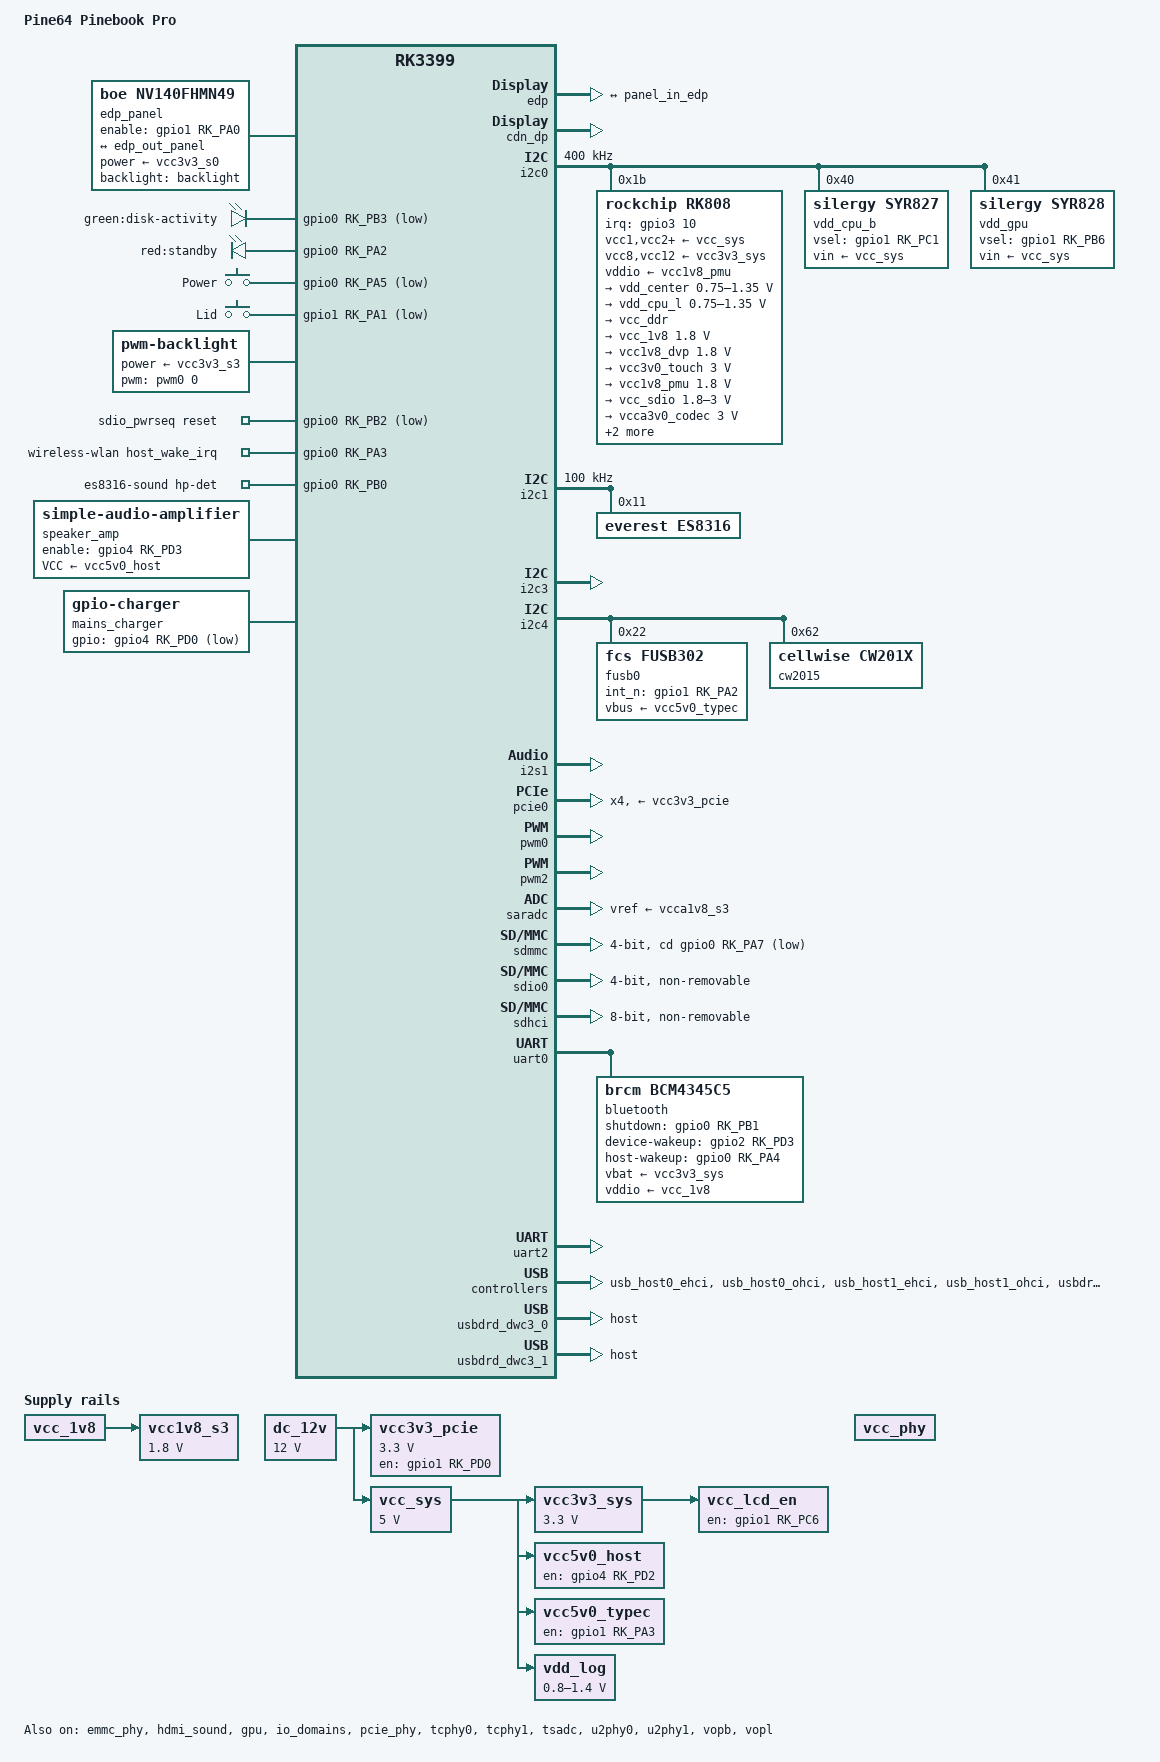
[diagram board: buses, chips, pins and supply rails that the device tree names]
// SPDX-License-Identifier: (GPL-2.0+ OR MIT)
/*
 * Copyright (c) 2017 Fuzhou Rockchip Electronics Co., Ltd.
 * Copyright (c) 2018 Akash Gajjar <Akash_Gajjar@mentor.com>
 */

/dts-v1/;
#include <dt-bindings/input/linux-event-codes.h>
#include <dt-bindings/pwm/pwm.h>
#include <dt-bindings/usb/pd.h>
//#include <dt-bindings/leds/common.h>
#include <dt-bindings/pinctrl/rockchip.h>
#include "rk3399.dtsi"
#include "rk3399-opp.dtsi"
#include "rk3399-crypto.dtsi"

/ {
	model = "Pine64 Pinebook Pro";
	compatible = "pine64,pinebook-pro", "rockchip,rk3399";

	edp_panel: edp-panel { /* "boe,nv140fhmn49" */
		compatible = "boe,nv140fhmn49", "simple-panel";
		backlight = <&backlight>;
		power-supply = <&vcc3v3_s0>;
//		pinctrl-names = "default";
//		pinctrl-0 = <&panel_en>;
		enable-gpios = <&gpio1 RK_PA0 GPIO_ACTIVE_HIGH>;
		prepare-delay-ms = <20>;
		enable-delay-ms = <20>;
		status = "okay";

		ports {
	                #address-cells = <0x01>;
                        #size-cells = <0x00>;
			port@0 {
				panel_in_edp: endpoint@0 {
					remote-endpoint = <&edp_out_panel>;
				};
			};
		};
	};

	chosen {
		bootargs = "earlycon=uart8250,mmio32,0xff1a0000";
		stdout-path = "serial2:1500000n8";
	};

	leds {
		compatible = "gpio-leds";
		pinctrl-names = "default";
		pinctrl-0 = <&pwrled &slpled>;

		/* Hack using active_low as inversion. A real, inverted trigger would be nicer */
		green-led {
			gpios = <&gpio0 RK_PB3 GPIO_ACTIVE_LOW>;
			label = "green:disk-activity";
//			function = LED_FUNCTION_POWER;
			linux,default-trigger = "disk-activity";
			default-state = "off";
//			color = <LED_COLOR_ID_GREEN>;
		};

		red-led {
			gpios = <&gpio0 RK_PA2 GPIO_ACTIVE_HIGH>;
			label = "red:standby";
//			function = LED_FUNCTION_STANDBY;
			default-state = "off";
			panic-indicator;
			retain-state-suspended;
//			color = <LED_COLOR_ID_RED>;
		};
	};

	reserved-memory {
		#address-cells = <2>;
		#size-cells = <2>;
		ranges;

		drm_logo: drm-logo@00000000 {
			compatible = "rockchip,drm-logo";
			reg = <0x0 0x0 0x0 0x0>;
		};
	};

	dc_12v: dc-12v {
		compatible = "regulator-fixed";
		regulator-name = "dc_12v";
		regulator-always-on;
		regulator-boot-on;
		regulator-min-microvolt = <12000000>;
		regulator-max-microvolt = <12000000>;
	};

	gpio-keys {
		compatible = "gpio-keys";
		autorepeat;
		pinctrl-names = "default";
		pinctrl-0 = <&pwrbtn &lidbtn>;

		power {
			debounce-interval = <20>;
			gpios = <&gpio0 RK_PA5 GPIO_ACTIVE_LOW>;
			label = "Power";
			linux,code = <KEY_POWER>;
			wakeup-source;
		};

		lid {
			debounce-interval = <20>;
			gpios = <&gpio1 RK_PA1 GPIO_ACTIVE_LOW>;
			label = "Lid";
			linux,code = <SW_LID>;
			linux,input-type = <EV_SW>;
			wakeup-source;
		};
	};
	
	backlight: edp-backlight {
		compatible = "pwm-backlight";
		pwms = <&pwm0 0 740740 0>;
		power-supply = <&vcc3v3_s3>;
		brightness-levels = <
			  0   1   2   3   4   5   6   7
			  8   9  10  11  12  13  14  15
			 16  17  18  19  20  21  22  23
			 24  25  26  27  28  29  30  31
			 32  33  34  35  36  37  38  39
			 40  41  42  43  44  45  46  47
			 48  49  50  51  52  53  54  55
			 56  57  58  59  60  61  62  63
			 64  65  66  67  68  69  70  71
			 72  73  74  75  76  77  78  79
			 80  81  82  83  84  85  86  87
			 88  89  90  91  92  93  94  95
			 96  97  98  99 100 101 102 103
			104 105 106 107 108 109 110 111
			112 113 114 115 116 117 118 119
			120 121 122 123 124 125 126 127
			128 129 130 131 132 133 134 135
			136 137 138 139 140 141 142 143
			144 145 146 147 148 149 150 151
			152 153 154 155 156 157 158 159
			160 161 162 163 164 165 166 167
			168 169 170 171 172 173 174 175
			176 177 178 179 180 181 182 183
			184 185 186 187 188 189 190 191
			192 193 194 195 196 197 198 199
			200 201 202 203 204 205 206 207
			208 209 210 211 212 213 214 215
			216 217 218 219 220 221 222 223
			224 225 226 227 228 229 230 231
			232 233 234 235 236 237 238 239
			240 241 242 243 244 245 246 247
			248 249 250 251 252 253 254 255>;
		default-brightness-level = <200>;
		status = "okay";
	};

	panel {
		vcc_lcd_en_drv: vcc-lcd-en-drv {
			rockchip,pins = <1 RK_PC6 RK_FUNC_GPIO &pcfg_pull_none>;
		};

		panel_en: panel-en {
			rockchip,pins = <1 RK_PA0 RK_FUNC_GPIO &pcfg_pull_none>;
		};
	};

	vcc_lcd_en: vcc-lcd-en-regulator {
		compatible = "regulator-fixed";
		enable-active-high;
		gpio = <&gpio1 RK_PC6 GPIO_ACTIVE_HIGH>;
//		pinctrl-names = "default";
//		pinctrl-0 = <&vcc_lcd_en_drv>;
		regulator-name = "vcc_lcd_en";
		regulator-enable-ramp-delay = <100000>;
		vin-supply = <&vcc3v3_sys>;
		regulator-always-on;

		regulator-state-mem {
			regulator-off-in-suspend;
		};
	};

	sdio_pwrseq: sdio-pwrseq {
		compatible = "mmc-pwrseq-simple";
		clocks = <&rk808 1>;
		clock-names = "ext_clock";
		pinctrl-names = "default";
		pinctrl-0 = <&wifi_enable_h>;
		power-off-delay-us = <500000>;
		post-power-on-delay-ms = <100>;

		/*
		 * On the module itself this is one of these (depending
		 * on the actual card populated):
		 * - SDIO_RESET_L_WL_REG_ON
		 * - PDN (power down when low)
		 */
		reset-gpios = <&gpio0 RK_PB2 GPIO_ACTIVE_LOW>;
	};

	wireless-wlan {
		compatible = "wlan-platdata";
		rockchip,grf = <&grf>;
		wifi_chip_type = "ap6354";
		sdio_vref = <1800>;
		WIFI,host_wake_irq = <&gpio0 RK_PA3 GPIO_ACTIVE_HIGH>;
		status = "okay";
	};

	es8316-sound {
		status = "okay";
		compatible = "simple-audio-card";
		simple-audio-card,name = "rockchip,es8316-codec";
		simple-audio-card,format = "i2s";
		simple-audio-card,mclk-fs = <256>;

		simple-audio-card,widgets =
			"Microphone", "Mic Jack",
			"Headphone", "Headphones",
			"Speaker", "Speaker";
		simple-audio-card,routing =
			"MIC1", "Mic Jack",
			"Headphones", "HPOL",
			"Headphones", "HPOR",
			"Speaker Amplifier INL", "HPOL",
			"Speaker Amplifier INR", "HPOR",
			"Speaker", "Speaker Amplifier OUTL",
			"Speaker", "Speaker Amplifier OUTR";

		simple-audio-card,hp-det-gpio = <&gpio0 RK_PB0 GPIO_ACTIVE_HIGH>;
		simple-audio-card,aux-devs = <&speaker_amp>;

		simple-audio-card,cpu {
			sound-dai = <&i2s1>;
		};

		simple-audio-card,codec {
			sound-dai = <&es8316>;
		};
	};

	speaker_amp: speaker-amplifier {
		status = "okay";
		compatible = "simple-audio-amplifier";
		enable-gpios = <&gpio4 RK_PD3 GPIO_ACTIVE_HIGH>;
		VCC-supply = <&vcc5v0_host>;
		sound-name-prefix = "Speaker Amplifier";
	};

	/* switched by pmic_sleep */
	vcc1v8_s3: vcca1v8_s3: vcc1v8-s3 {
		compatible = "regulator-fixed";
		regulator-name = "vcc1v8_s3";
		regulator-always-on;
		regulator-boot-on;
		regulator-min-microvolt = <1800000>;
		regulator-max-microvolt = <1800000>;
		vin-supply = <&vcc_1v8>;
	};

	vcc3v3_pcie: vcc3v3-pcie-regulator {
		compatible = "regulator-fixed";
		enable-active-high;
		gpio = <&gpio1 RK_PD0 GPIO_ACTIVE_HIGH>;
		pinctrl-names = "default";
		pinctrl-0 = <&pcie_pwr_en>;
		regulator-name = "vcc3v3_pcie";
		regulator-min-microvolt = <3300000>;
		regulator-max-microvolt = <3300000>;
		vin-supply = <&dc_12v>;
	};

	vcc_phy: vcc-phy-regulator {
		compatible = "regulator-fixed";
		regulator-name = "vcc_phy";
		regulator-always-on;
		regulator-boot-on;
	};

	vcc3v3_sys: vcc3v3-sys {
		compatible = "regulator-fixed";
		regulator-name = "vcc3v3_sys";
		regulator-always-on;
		regulator-boot-on;
		regulator-min-microvolt = <3300000>;
		regulator-max-microvolt = <3300000>;
		vin-supply = <&vcc_sys>;
	};

	/* Actually 3 regulators (host0, 1, 2) controlled by the same gpio */
	vcc5v0_host: vcc5v0-host-regulator {
		compatible = "regulator-fixed";
		enable-active-high;
		gpio = <&gpio4 RK_PD2 GPIO_ACTIVE_HIGH>;
		pinctrl-names = "default";
		pinctrl-0 = <&vcc5v0_host_en>;
		regulator-name = "vcc5v0_host";
		regulator-always-on;
		vin-supply = <&vcc_sys>;
	};

	vcc5v0_typec: vcc5v0-typec-regulator {
		compatible = "regulator-fixed";
		enable-active-high;
		gpio = <&gpio1 RK_PA3 GPIO_ACTIVE_HIGH>;
		pinctrl-names = "default";
		pinctrl-0 = <&vcc5v0_typec_en>;
		regulator-name = "vcc5v0_typec";
		vin-supply = <&vcc_sys>;
	};

	vcc_sys: vcc-sys {
		compatible = "regulator-fixed";
		regulator-name = "vcc_sys";
		regulator-always-on;
		regulator-boot-on;
		regulator-min-microvolt = <5000000>;
		regulator-max-microvolt = <5000000>;
		vin-supply = <&dc_12v>;
	};

	vdd_log: vdd-log {
		compatible = "pwm-regulator";
		pwms = <&pwm2 0 25000 1>;
		pwm-supply = <&vcc_sys>;
		regulator-name = "vdd_log";
		regulator-always-on;
		regulator-boot-on;
		regulator-min-microvolt = <800000>;
		regulator-max-microvolt = <1400000>;
	};

	mains_charger: dc-charger {
		compatible = "gpio-charger";
		charger-type = "mains";
		gpios = <&gpio4 RK_PD0 GPIO_ACTIVE_LOW>;
//		pinctrl-names = "default";
//		pinctrl-0 = <&dc_det_gpio>;
	};

	usb_charger: usb-charger {
		status = "okay";
		compatible = "universal-charger";
		extcon = <&fusb0>;
	};
};

&edp {
	status = "okay";
	pinctrl-names = "default";
	pinctrl-0 = <&edp_hpd>;
	force-hpd;

	ports {
		edp_out: port@1 {
			reg = <1>;
			#address-cells = <1>;
			#size-cells = <0>;

			edp_out_panel: endpoint@0 {
				reg = <0>;
				remote-endpoint = <&panel_in_edp>;
			};
		};
	};
};

&cdn_dp {
	status = "okay";
	extcon = <&fusb0>;
};

&cpu_l0 {
	cpu-supply = <&vdd_cpu_l>;
};

&cpu_l1 {
	cpu-supply = <&vdd_cpu_l>;
};

&cpu_l2 {
	cpu-supply = <&vdd_cpu_l>;
};

&cpu_l3 {
	cpu-supply = <&vdd_cpu_l>;
};

&cpu_b0 {
	cpu-supply = <&vdd_cpu_b>;
};

&cpu_b1 {
	cpu-supply = <&vdd_cpu_b>;
};

&cpu_alert0 {
	temperature = <80000>;
};

&cpu_alert1 {
	temperature = <95000>;
};

&cpu_crit {
	temperature = <100000>;
};

&emmc_phy {
	status = "okay";
};

&hdmi_sound {
	status = "okay";
};

&hdmi {
	ddc-i2c-bus = <&i2c3>;
	pinctrl-names = "default";
	pinctrl-0 = <&hdmi_cec>;
	status = "disabled";
};

&gpu {
	mali-supply = <&vdd_gpu>;
	status = "okay";
};

&i2c0 {
	clock-frequency = <400000>;
	i2c-scl-rising-time-ns = <168>;
	i2c-scl-falling-time-ns = <4>;
	status = "okay";

	rk808: pmic@1b {
		compatible = "rockchip,rk808";
		reg = <0x1b>;
		interrupt-parent = <&gpio3>;
		interrupts = <10 IRQ_TYPE_LEVEL_LOW>;
		#clock-cells = <1>;
		clock-output-names = "xin32k", "rk808-clkout2";
		pinctrl-names = "default";
		pinctrl-0 = <&pmic_int_l>;
		rockchip,system-power-controller;
		wakeup-source;

		vcc1-supply = <&vcc_sys>;
		vcc2-supply = <&vcc_sys>;
		vcc3-supply = <&vcc_sys>;
		vcc4-supply = <&vcc_sys>;
		vcc6-supply = <&vcc_sys>;
		vcc7-supply = <&vcc_sys>;
		vcc8-supply = <&vcc3v3_sys>;
		vcc9-supply = <&vcc_sys>;
		vcc10-supply = <&vcc_sys>;
		vcc11-supply = <&vcc_sys>;
		vcc12-supply = <&vcc3v3_sys>;
		vddio-supply = <&vcc1v8_pmu>;

		regulators {
			vdd_center: DCDC_REG1 {
				regulator-name = "vdd_center";
				regulator-always-on;
				regulator-boot-on;
				regulator-min-microvolt = <750000>;
				regulator-max-microvolt = <1350000>;
				regulator-ramp-delay = <6001>;
				regulator-state-mem {
					regulator-off-in-suspend;
				};
			};

			vdd_cpu_l: DCDC_REG2 {
				regulator-name = "vdd_cpu_l";
				regulator-always-on;
				regulator-boot-on;
				regulator-min-microvolt = <750000>;
				regulator-max-microvolt = <1350000>;
				regulator-ramp-delay = <6001>;
				regulator-state-mem {
					regulator-off-in-suspend;
				};
			};

			vcc_ddr: DCDC_REG3 {
				regulator-name = "vcc_ddr";
				regulator-always-on;
				regulator-boot-on;
				regulator-state-mem {
					regulator-on-in-suspend;
				};
			};

			vcc_1v8: DCDC_REG4 {
				regulator-name = "vcc_1v8";
				regulator-always-on;
				regulator-boot-on;
				regulator-min-microvolt = <1800000>;
				regulator-max-microvolt = <1800000>;
				regulator-state-mem {
					regulator-on-in-suspend;
					regulator-suspend-microvolt = <1800000>;
				};
			};

			vcc1v8_dvp: LDO_REG1 {
				regulator-name = "vcc1v8_dvp";
				regulator-always-on;
				regulator-boot-on;
				regulator-min-microvolt = <1800000>;
				regulator-max-microvolt = <1800000>;
				regulator-state-mem {
					regulator-off-in-suspend;
				};
			};

			vcc3v0_touch: LDO_REG2 {
				regulator-name = "vcc3v0_touch";
				regulator-always-on;
				regulator-boot-on;
				regulator-min-microvolt = <3000000>;
				regulator-max-microvolt = <3000000>;
				regulator-state-mem {
					regulator-off-in-suspend;
				};
			};

			vcc1v8_pmu: LDO_REG3 {
				regulator-name = "vcc1v8_pmu";
				regulator-always-on;
				regulator-boot-on;
				regulator-min-microvolt = <1800000>;
				regulator-max-microvolt = <1800000>;
				regulator-state-mem {
					regulator-on-in-suspend;
					regulator-suspend-microvolt = <1800000>;
				};
			};

			vcc_sdio: LDO_REG4 {
				regulator-name = "vcc_sdio";
				regulator-always-on;
				regulator-boot-on;
				regulator-min-microvolt = <1800000>;
				regulator-max-microvolt = <3000000>;
				regulator-state-mem {
					regulator-on-in-suspend;
					regulator-suspend-microvolt = <3000000>;
				};
			};

			vcca3v0_codec: LDO_REG5 {
				regulator-name = "vcca3v0_codec";
				regulator-always-on;
				regulator-boot-on;
				regulator-min-microvolt = <3000000>;
				regulator-max-microvolt = <3000000>;
				regulator-state-mem {
					regulator-off-in-suspend;
				};
			};

			vcc_1v5: LDO_REG6 {
				regulator-name = "vcc_1v5";
				regulator-always-on;
				regulator-boot-on;
				regulator-min-microvolt = <1500000>;
				regulator-max-microvolt = <1500000>;
				regulator-state-mem {
					regulator-on-in-suspend;
					regulator-suspend-microvolt = <1500000>;
				};
			};

			vcca1v8_codec: LDO_REG7 {
				regulator-name = "vcca1v8_codec";
				regulator-always-on;
				regulator-boot-on;
				regulator-min-microvolt = <1800000>;
				regulator-max-microvolt = <1800000>;
				regulator-state-mem {
					regulator-off-in-suspend;
				};
			};

			vcc_3v0: LDO_REG8 {
				regulator-name = "vcc_3v0";
				regulator-always-on;
				regulator-boot-on;
				regulator-min-microvolt = <3000000>;
				regulator-max-microvolt = <3000000>;
				regulator-state-mem {
					regulator-on-in-suspend;
					regulator-suspend-microvolt = <3000000>;
				};
			};

			vcc3v3_s3: vcc_lan: SWITCH_REG1 {
				regulator-name = "vcc3v3_s3";
				regulator-always-on;
				regulator-boot-on;
				regulator-state-mem {
					regulator-off-in-suspend;
				};
			};

			vcc3v3_s0: SWITCH_REG2 {
				regulator-name = "vcc3v3_s0";
				regulator-always-on;
				regulator-boot-on;
				regulator-state-mem {
					regulator-off-in-suspend;
				};
			};
		};
	};

	vdd_cpu_b: regulator@40 {
		compatible = "silergy,syr827";
		reg = <0x40>;
		fcs,suspend-voltage-selector = <1>;
		pinctrl-names = "default";
		pinctrl-0 = <&vsel1_gpio>;
		vsel-gpios = <&gpio1 RK_PC1 GPIO_ACTIVE_HIGH>;
		regulator-compatible = "fan53555-reg";
		regulator-name = "vdd_cpu_b";
		regulator-min-microvolt = <712500>;
		regulator-max-microvolt = <1500000>;
		regulator-ramp-delay = <1000>;
		regulator-always-on;
		regulator-boot-on;
		vin-supply = <&vcc_sys>;

		regulator-state-mem {
			regulator-off-in-suspend;
		};
	};

	vdd_gpu: regulator@41 {
		compatible = "silergy,syr828";
		reg = <0x41>;
		fcs,suspend-voltage-selector = <1>;
		pinctrl-names = "default";
		pinctrl-0 = <&vsel2_gpio>;
		vsel-gpios = <&gpio1 RK_PB6 GPIO_ACTIVE_HIGH>;
		regulator-compatible = "fan53555-reg";
		regulator-name = "vdd_gpu";
		regulator-min-microvolt = <712500>;
		regulator-max-microvolt = <1500000>;
		regulator-ramp-delay = <1000>;
		regulator-always-on;
		regulator-boot-on;
		vin-supply = <&vcc_sys>;

		regulator-state-mem {
			regulator-off-in-suspend;
		};
	};
};

&i2c1 {
	i2c-scl-rising-time-ns = <168>;
	i2c-scl-falling-time-ns = <4>;
	status = "okay";

	clock-frequency = <100000>;

	es8316: es8316@11 {
		#sound-dai-cells = <0>;
		compatible = "everest,es8316";
		reg = <0x11>;
		clocks = <&cru SCLK_I2S_8CH_OUT>;
		clock-names = "mclk";
	};
};

&i2c3 {
	i2c-scl-rising-time-ns = <450>;
	i2c-scl-falling-time-ns = <15>;
	status = "okay";
};



&i2c4 {
	i2c-scl-rising-time-ns = <600>;
	i2c-scl-falling-time-ns = <20>;
	status = "okay";

	fusb0: fusb30x@22 {
		compatible = "fcs,fusb302";
		reg = <0x22>;
		pinctrl-names = "default";
		pinctrl-0 = <&fusb0_int>;
		fcs,int_n = <&gpio1 RK_PA2 GPIO_ACTIVE_HIGH>;
		vbus-supply = <&vcc5v0_typec>;
		status = "okay";
		connector {
			compatible = "usb-c-connector";
			label = "USB-C";
			power-role = "dual";
			try-power-role = "sink";
			source-pdos = <PDO_FIXED(5000, 1400, PDO_FIXED_USB_COMM)>;
			sink-pdos = <PDO_FIXED(5000, 2500, PDO_FIXED_USB_COMM)>;
			op-sink-microwatt = <1000000>;
			extcon-cables = <1 2 5 6 9 10 12 44>;
			typec-altmodes = <0xff01 1 0x001c0000 1>;
		};
	};

	cw2015@62 {
		status = "okay";
		compatible = "cellwise,cw201x";
		reg = <0x62>;
		cellwise,bat-config-info = <
			0x17 0x67 0x80 0x73 0x6E 0x6C 0x6B 0x63
			0x77 0x51 0x5C 0x58 0x50 0x4C 0x48 0x36
			0x15 0x0C 0x0C 0x19 0x5B 0x7D 0x6F 0x69
			0x69 0x5B 0x0C 0x29 0x20 0x40 0x52 0x59
			0x57 0x56 0x54 0x4F 0x3B 0x1F 0x7F 0x17
			0x06 0x1A 0x30 0x5A 0x85 0x93 0x96 0x2D
			0x48 0x77 0x9C 0xB3 0x80 0x52 0x94 0xCB
			0x2F 0x00 0x64 0xA5 0xB5 0x11 0xF0 0x11
		>;
		cellwise,monitor-interval = <5>;
		cellwise,virtual-power = <0>;
		cellwise,design-capacity = <9800>;
		power-supplies = <&mains_charger>, <&fusb0>;
	};
};

&i2s0 {
	status = "disabled";
};

&i2s1 {
	rockchip,i2s-broken-burst-len;
	rockchip,playback-channels = <8>;
	rockchip,capture-channels = <8>;
	#sound-dai-cells = <0>;
	pinctrl-names = "default";
	pinctrl-0 = <&i2s_8ch_mclk>, <&i2s1_2ch_bus>;
	status = "okay";
};

&i2s2 {
	#sound-dai-cells = <0>;
	status = "disabled";
};

&io_domains {
	status = "okay";

	bt656-supply = <&vcc1v8_dvp>;
	audio-supply = <&vcca1v8_codec>;
	sdmmc-supply = <&vcc_sdio>;
	gpio1830-supply = <&vcc_3v0>;
};

&pcie_phy {
	status = "okay";
};

&pcie0 {
	ep-gpios = <&gpio2 RK_PD4 GPIO_ACTIVE_HIGH>;
	num-lanes = <4>;
	pinctrl-names = "default";
	pinctrl-0 = <&pcie_clkreqn_cpm>;
	vpcie3v3-supply = <&vcc3v3_pcie>;
	bus-scan-delay-ms = <1000>;
	status = "okay";
};

&pmu_io_domains {
	pmu1830-supply = <&vcc_3v0>;
	status = "okay";
};

&cluster1_opp {
	opp08 {
		opp-hz = /bits/ 64 <2000000000>;
		opp-microvolt = <1300000>;
	};
};

&pinctrl {
	buttons {
		pwrbtn: pwrbtn {
			rockchip,pins = <0 RK_PA5 RK_FUNC_GPIO &pcfg_pull_up>;
		};
		lidbtn: lidbtn {
			rockchip,pins = <1 RK_PA1 RK_FUNC_GPIO &pcfg_pull_up>;
		};
	};

	dc-charger {
		dc_det_gpio: dc-det-gpio {
			rockchip,pins = <4 RK_PD0 RK_FUNC_GPIO &pcfg_pull_none>;
		};
	};

	fusb302x {
		fusb0_int: fusb0-int {
			rockchip,pins = <1 RK_PA2 RK_FUNC_GPIO &pcfg_pull_up>;
		};
	};

	leds {
		pwrled: pwrled {
			rockchip,pins = <0 RK_PB3 RK_FUNC_GPIO &pcfg_pull_none>;
		};

		slpled: slpled {
			rockchip,pins = <0 RK_PA2 RK_FUNC_GPIO &pcfg_pull_none>;
		};
	};

	lcd-panel {
		lcd_panel_reset: lcd-panel-reset {
			rockchip,pins = <4 RK_PD6 RK_FUNC_GPIO &pcfg_pull_up>;
		};
	};

	pcie {
		pcie_pwr_en: pcie-pwr-en {
			rockchip,pins = <1 RK_PD0 RK_FUNC_GPIO &pcfg_pull_none>;
		};
	};

	pmic {
		pmic_int_l: pmic-int-l {
			rockchip,pins = <3 RK_PB2 RK_FUNC_GPIO &pcfg_pull_up>;
		};

		vsel1_gpio: vsel1-gpio {
			rockchip,pins = <1 RK_PC1 RK_FUNC_GPIO &pcfg_pull_down>;
		};

		vsel2_gpio: vsel2-gpio {
			rockchip,pins = <1 RK_PB6 RK_FUNC_GPIO &pcfg_pull_down>;
		};
	};

	sdio-pwrseq {
		wifi_enable_h: wifi-enable-h {
			rockchip,pins = <0 RK_PB2 RK_FUNC_GPIO &pcfg_pull_none>;
		};
	};

	usb-typec {
		vcc5v0_typec_en: vcc5v0_typec_en {
			rockchip,pins = <1 RK_PA3 RK_FUNC_GPIO &pcfg_pull_up>;
		};
	};

	usb2 {
		vcc5v0_host_en: vcc5v0-host-en {
			rockchip,pins = <4 RK_PD2 RK_FUNC_GPIO &pcfg_pull_none>;
		};
	};

	i2s1 {
		i2s_8ch_mclk: i2s-8ch-mclk {
			rockchip,pins = <4 0 RK_FUNC_1 &pcfg_pull_none>;
		};
	};

	wireless-bluetooth {
		bt_wake_gpio: bt-wake {
			rockchip,pins =
				<2 RK_PD3 RK_FUNC_GPIO &pcfg_pull_none>;
		};
		bt_host_wake_gpio: bt-host-wake {
			rockchip,pins =
				<0 RK_PA4 RK_FUNC_GPIO &pcfg_pull_none>;
		};

		bt_reset_gpio: bt-reset {
			rockchip,pins =
				<0 RK_PB1 RK_FUNC_GPIO &pcfg_pull_none>;
		};
	};
};

&pwm0 {
	status = "okay";
};

&pwm2 {
	status = "okay";
};

&saradc {
	vref-supply = <&vcca1v8_s3>;
	status = "okay";
};

&sdmmc {
	bus-width = <4>;
	cap-mmc-highspeed;
	cap-sd-highspeed;
	cd-gpios = <&gpio0 RK_PA7 GPIO_ACTIVE_LOW>;
	disable-wp;
	sd-uhs-sdr104;
	max-frequency = <150000000>;
	vqmmc-supply = <&vcc_sdio>;
	pinctrl-names = "default";
	pinctrl-0 = <&sdmmc_clk &sdmmc_cmd &sdmmc_bus4>;
	status = "okay";
};

&sdio0 {
	supports-sdio;
	bus-width = <4>;
	disable-wp;
	cap-sd-highspeed;
	cap-sdio-irq;
	keep-power-in-suspend;
	mmc-pwrseq = <&sdio_pwrseq>;
	non-removable;
	num-slots = <1>;
	pinctrl-names = "default";
	pinctrl-0 = <&sdio0_bus4 &sdio0_cmd &sdio0_clk>;
	sd-uhs-sdr104;
	status = "okay";
	defer_pcie = <2000>;
};

&sdhci {
	bus-width = <8>;
	//mmc-hs400-1_8v;
	mmc-hs200-1_8v;
	//mmc-hs400-enhanced-strobe;
	non-removable;
	status = "okay";
};

&tcphy0 {
	extcon = <&fusb0>;
	status = "okay";
};

&tcphy1 {
	status = "okay";
};

&tsadc {
	/* tshut mode 0:CRU 1:GPIO */
	rockchip,hw-tshut-mode = <1>;
	/* tshut polarity 0:LOW 1:HIGH */
	rockchip,hw-tshut-polarity = <1>;
	status = "okay";
};

&u2phy0 {
	status = "okay";

	u2phy0_otg: otg-port {
		status = "okay";
	};

	u2phy0_host: host-port {
		phy-supply = <&vcc5v0_host>;
		status = "okay";
	};
};

&u2phy1 {
	status = "okay";

	u2phy1_otg: otg-port {
		status = "okay";
	};

	u2phy1_host: host-port {
		phy-supply = <&vcc5v0_host>;
		status = "okay";
	};
};


&uart0 {
	pinctrl-names = "default";
	pinctrl-0 = <&uart0_xfer &uart0_cts &uart0_rts>;
	uart-has-rtscts;
	status = "okay";

	bluetooth {
		compatible = "brcm,bcm4345c5";
		clocks = <&rk808 1>;
		clock-names = "lpo";
		pinctrl-names = "default";
		pinctrl-0 = <&bt_host_wake_gpio &bt_wake_gpio &bt_reset_gpio>;
		shutdown-gpios = <&gpio0 RK_PB1 GPIO_ACTIVE_HIGH>;
		device-wakeup-gpios = <&gpio2 RK_PD3 GPIO_ACTIVE_HIGH>;
		host-wakeup-gpios = <&gpio0 RK_PA4 GPIO_ACTIVE_HIGH>;
		max-speed = <1500000>;
		vbat-supply = <&vcc3v3_sys>;
		vddio-supply = <&vcc_1v8>;
	};
};

&uart2 {
	status = "okay";
};

&usb_host0_ehci {
	status = "okay";
};

&usb_host0_ohci {
	status = "okay";
};

&usb_host1_ehci {
	status = "okay";
};

&usb_host1_ohci {
	status = "okay";
};

&usbdrd3_0 {
	status = "okay";
};

&usbdrd_dwc3_0 {
	status = "okay";
	dr_mode = "host";
};

&usbdrd3_1 {
	status = "okay";
};

&usbdrd_dwc3_1 {
	status = "okay";
	dr_mode = "host";
};

&vopb {
	status = "okay";
};

&vopb_mmu {
	status = "okay";
};

&vopl {
	status = "okay";
};

&vopl_mmu {
	status = "okay";
};

&spi1 {
	// XXXJDM disable until rkspi issues are sorted out
	status = "disabled";
	max-freq = <10000000>;

	spiflash: spi-flash@0 {
		#address-cells = <0x1>;
		#size-cells = <1>;
		compatible = "jedec,spi-nor";
		reg = <0x0>;
		spi-max-frequency = <10000000>;
		status = "okay";
		m25p,fast-read;

		partitions {
			compatible = "fixed-partitions";
			#address-cells = <1>;
			#size-cells = <1>;

			loader@8000 {
				label = "loader";
				reg = <0x0 0x3F8000>;
			};

			env@3f8000 {
				label = "env";
				reg = <0x3F8000 0x8000>;
			};

			vendor@7c0000 {
				label = "vendor";
				reg = <0x7C0000 0x40000>;
			};
		};
	};
};
